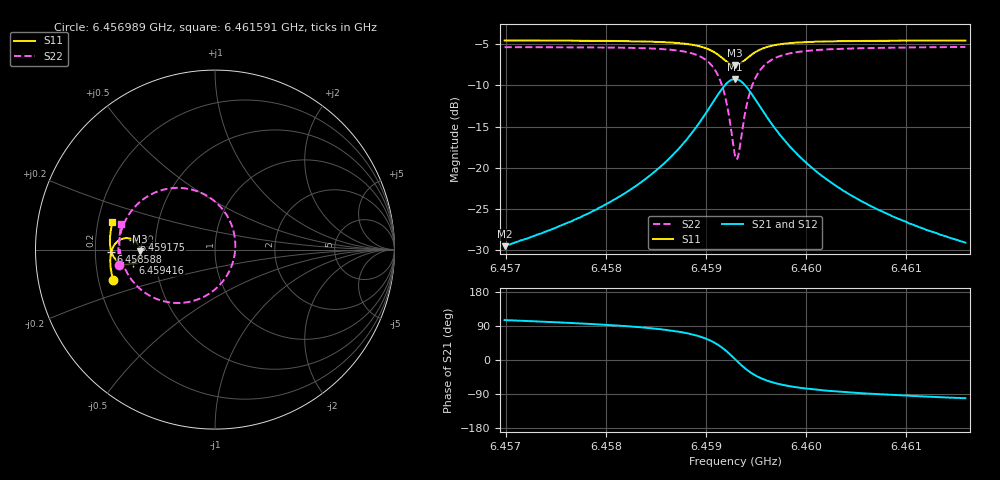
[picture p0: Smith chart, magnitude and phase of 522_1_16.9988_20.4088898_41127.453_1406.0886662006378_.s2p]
#  HZ  S  RI  R  50.00
! Rohde & Schwarz Vector Network Analyzer
! Rohde-Schwarz,ZNB20-2Port,1311601062101988,3.16
! Created: UTC 3/20/2024, 11:15:26 PM
! freq[Hz]  re:S11  im:S11  re:S21  im:S21  re:S12  im:S12  re:S22  im:S22
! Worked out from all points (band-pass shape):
!   401 points, 6.456989 GHz to 6.461591 GHz, reference 50 ohm
!   highest |S21| = -9.22 dB at 6.45929 GHz (marker M1); lowest = -29.5 dB at 6.456989 GHz (marker M2)
!   |S21| within 3 dB of the highest: 6.45906 GHz to 6.45952 GHz (459.9 kHz wide, 0.00712 % of centre)
!   lowest |S11| = -7.6 dB at 6.45929 GHz (marker M3), VSWR 2.44, Z = 20.5 - j0.469 ohm
!   |S11| at or under -10 dB: nowhere
!   |S22| runs from -18.9 to -5.3 dB; largest |S21 - S12| = 0.014
!   S11 on the Smith chart (normalised r, x): 6.456989 GHz: 0.26, -0.14; 6.458588 GHz: 0.27, -0.01; 6.459175 GHz: 0.37, +0.05; 6.459416 GHz: 0.37, -0.07; 6.461591 GHz: 0.26, +0.12
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6.4569887e9  -0.5669 -0.1713  -0.00896 0.0323  -0.00711 0.0324  -0.5328 -0.0839
6.4577596e9  -0.5808 -0.1039  -0.00552 0.0504  -0.00296 0.0497  -0.5381 0.00639
6.4581737e9  -0.5837 -0.0626  0.000159 0.0692  0.00336 0.0678  -0.5302 0.0717
6.4585304e9  -0.5798 -0.02  0.0143 0.0986  0.0183 0.096  -0.5042 0.1517
6.4585879e9  -0.578 -0.012  0.0187 0.1055  0.0227 0.1024  -0.496 0.1682
6.458795e9  -0.565 0.0199  0.0461 0.1379  0.0504 0.133  -0.4443 0.241
6.4589446e9  -0.5423 0.0463  0.0915 0.1685  0.0947 0.1616  -0.3608 0.3053
6.4590826e9  -0.4986 0.0639  0.1786 0.1849  0.1796 0.1776  -0.2013 0.344
6.4591747e9  -0.4541 0.0536  0.2687 0.1537  0.2689 0.1478  -0.0345 0.2935
6.4592437e9  -0.425 0.0216  0.3292 0.0817  0.3313 0.0764  0.0811 0.1637
6.4592897e9  -0.418 -0.00942  0.3456 0.0138  0.3492 0.00688  0.1132 0.0365
6.4593012e9  -0.4184 -0.0175  0.3454 -0.00393  0.3492 -0.0116  0.113 0.00265
6.4593242e9  -0.4219 -0.0331  0.3398 -0.0387  0.3437 -0.0479  0.1017 -0.0633
6.4593702e9  -0.4376 -0.0592  0.3112 -0.0988  0.3135 -0.1107  0.0439 -0.1766
6.4594163e9  -0.4596 -0.0755  0.269 -0.1398  0.2682 -0.1531  -0.0417 -0.2517
6.4595083e9  -0.503 -0.0822  0.184 -0.1709  0.1777 -0.1825  -0.2112 -0.2976
6.4596579e9  -0.5469 -0.0617  0.0961 -0.1569  0.0875 -0.1631  -0.3791 -0.2476
6.4598189e9  -0.5684 -0.034  0.0512 -0.1288  0.0434 -0.1316  -0.4594 -0.175
6.4600605e9  -0.5811 0.00152  0.022 -0.0972  0.0162 -0.0979  -0.5072 -0.0925
6.4604172e9  -0.5856 0.0437  0.00579 -0.0697  0.00175 -0.0693  -0.5288 -0.011
6.4608314e9  -0.5835 0.0852  -0.0015 -0.0519  -0.00444 -0.051  -0.5325 0.0551
6.4615907e9  -0.5712 0.1526  -0.00655 -0.0346  -0.00841 -0.0336  -0.5209 0.1449
